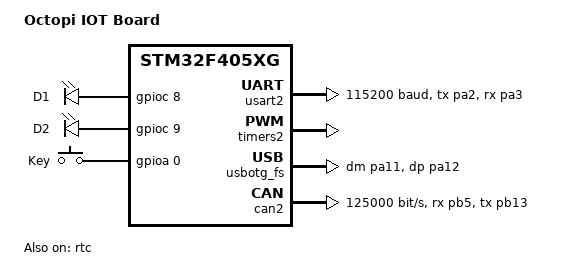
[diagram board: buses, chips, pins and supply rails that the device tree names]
/*
 * Copyright (c) 2017 Linaro Limited
 *
 * SPDX-License-Identifier: Apache-2.0
 */

/dts-v1/;
#include <st/f4/stm32f405Xg.dtsi>
#include <st/f4/stm32f405rgtx-pinctrl.dtsi>

/ {
	model = "Octopi IOT Board";
	compatible = "st,octopi_iot_board";

	chosen {
		zephyr,console = &usart2;
		zephyr,shell-uart = &usart2;
		zephyr,sram = &sram0;
		zephyr,flash = &flash0;
		zephyr,ccm = &ccm0;
		zephyr,can-primary = &can2;
	};

	leds {
		compatible = "gpio-leds";
		green_led_0: led_0 {
			gpios = <&gpioc 8 GPIO_ACTIVE_HIGH>;
			label = "D1";
		};
		red_led_1: led_1 {
			gpios = <&gpioc 9 GPIO_ACTIVE_HIGH>;
			label = "D2";
		};
	};

	gpio_keys {
		compatible = "gpio-keys";
		user_button: button {
			label = "Key";
			gpios = <&gpioa 0 GPIO_ACTIVE_HIGH>;
		};
	};

	
	aliases {
		led0 = &green_led_0;
		led1 = &red_led_1;
		sw0 = &user_button;
	};
};


&gpioa {
       status = "okay";
};

&usart2 {
	pinctrl-0 = <&usart2_tx_pa2 &usart2_rx_pa3>;
	current-speed = <115200>;
	status = "okay";
};

&timers2 {
	status = "okay";

	pwm2: pwm {
		status = "okay";
		pinctrl-0 = <&tim2_ch1_pa0>;
	};
};

&rtc {
	status = "okay";
};

&usbotg_fs {
	pinctrl-0 = <&usb_otg_fs_dm_pa11 &usb_otg_fs_dp_pa12>;
	status = "okay";
};

&can1 {
	pinctrl-0 = <&can1_rx_pb8 &can1_tx_pb9>;
	bus-speed = <125000>;
	status = "disabled";
};

&can2 {
	pinctrl-0 = <&can2_rx_pb5 &can2_tx_pb13>;
	bus-speed = <125000>;
	status = "okay";
};
